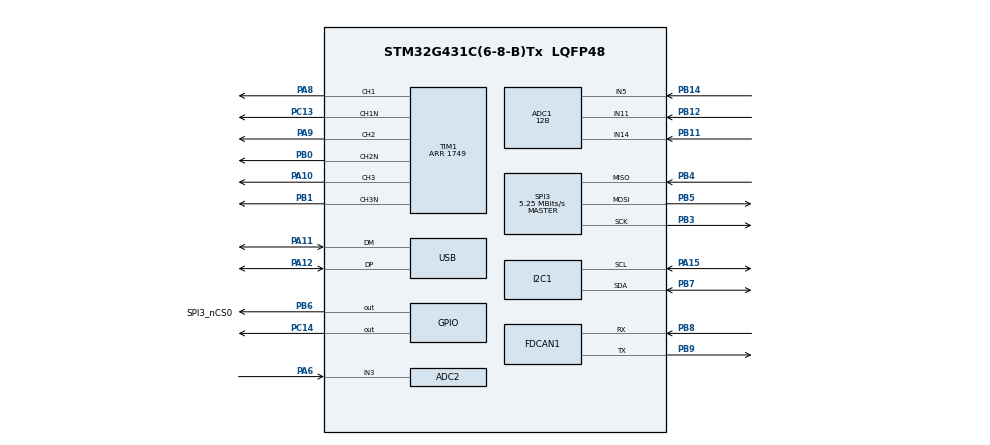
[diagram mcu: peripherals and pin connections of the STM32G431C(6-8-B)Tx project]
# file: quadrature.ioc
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ADC1.Channel-0\#ChannelRegularConversion=ADC_CHANNEL_5
ADC1.Channel-1\#ChannelRegularConversion=ADC_CHANNEL_11
ADC1.Channel-2\#ChannelRegularConversion=ADC_CHANNEL_14
ADC1.DMAContinuousRequests=ENABLE
ADC1.EOCSelection=ADC_EOC_SEQ_CONV
ADC1.ExternalTrigConv=ADC_EXTERNALTRIG_T1_TRGO
ADC1.Mode=ADC_MODE_INDEPENDENT
ADC1.NbrOfConversion=3
ADC1.NbrOfConversionFlag=1
ADC1.OffsetNumber-0\#ChannelRegularConversion=ADC_OFFSET_NONE
ADC1.OffsetNumber-1\#ChannelRegularConversion=ADC_OFFSET_NONE
ADC1.OffsetNumber-2\#ChannelRegularConversion=ADC_OFFSET_NONE
ADC1.OversamplingMode=DISABLE
ADC1.Rank-0\#ChannelRegularConversion=1
ADC1.Rank-1\#ChannelRegularConversion=2
ADC1.Rank-2\#ChannelRegularConversion=3
ADC1.Resolution=ADC_RESOLUTION_12B
ADC1.SamplingTime-0\#ChannelRegularConversion=ADC_SAMPLETIME_2CYCLES_5
ADC1.SamplingTime-1\#ChannelRegularConversion=ADC_SAMPLETIME_2CYCLES_5
ADC1.SamplingTime-2\#ChannelRegularConversion=ADC_SAMPLETIME_2CYCLES_5
ADC1.master=1
ADC2.Channel-1\#ChannelRegularConversion=ADC_CHANNEL_3
ADC2.ContinuousConvMode=ENABLE
ADC2.DMAContinuousRequests=ENABLE
ADC2.EOCSelection=ADC_EOC_SEQ_CONV
ADC2.NbrOfConversionFlag=1
ADC2.OffsetNumber-1\#ChannelRegularConversion=ADC_OFFSET_NONE
ADC2.Overrun=ADC_OVR_DATA_OVERWRITTEN
ADC2.Rank-1\#ChannelRegularConversion=1
ADC2.SamplingTime-1\#ChannelRegularConversion=ADC_SAMPLETIME_640CYCLES_5
Dma.ADC1.1.Direction=DMA_PERIPH_TO_MEMORY
Dma.ADC1.1.EventEnable=DISABLE
Dma.ADC1.1.Instance=DMA1_Channel2
Dma.ADC1.1.MemDataAlignment=DMA_MDATAALIGN_HALFWORD
Dma.ADC1.1.MemInc=DMA_MINC_ENABLE
Dma.ADC1.1.Mode=DMA_CIRCULAR
Dma.ADC1.1.PeriphDataAlignment=DMA_PDATAALIGN_HALFWORD
Dma.ADC1.1.PeriphInc=DMA_PINC_DISABLE
Dma.ADC1.1.Polarity=HAL_DMAMUX_REQ_GEN_RISING
Dma.ADC1.1.Priority=DMA_PRIORITY_VERY_HIGH
Dma.ADC1.1.RequestNumber=1
Dma.ADC1.1.SignalID=NONE
Dma.ADC1.1.SyncEnable=DISABLE
Dma.ADC1.1.SyncPolarity=HAL_DMAMUX_SYNC_NO_EVENT
Dma.ADC1.1.SyncRequestNumber=1
Dma.ADC1.1.SyncSignalID=NONE
Dma.ADC2.3.Direction=DMA_PERIPH_TO_MEMORY
Dma.ADC2.3.EventEnable=DISABLE
Dma.ADC2.3.Instance=DMA1_Channel4
Dma.ADC2.3.MemDataAlignment=DMA_MDATAALIGN_HALFWORD
Dma.ADC2.3.MemInc=DMA_MINC_ENABLE
Dma.ADC2.3.Mode=DMA_CIRCULAR
Dma.ADC2.3.PeriphDataAlignment=DMA_PDATAALIGN_HALFWORD
Dma.ADC2.3.PeriphInc=DMA_PINC_DISABLE
Dma.ADC2.3.Polarity=HAL_DMAMUX_REQ_GEN_RISING
Dma.ADC2.3.Priority=DMA_PRIORITY_MEDIUM
Dma.ADC2.3.RequestNumber=1
Dma.ADC2.3.SignalID=NONE
Dma.ADC2.3.SyncEnable=DISABLE
Dma.ADC2.3.SyncPolarity=HAL_DMAMUX_SYNC_NO_EVENT
Dma.ADC2.3.SyncRequestNumber=1
Dma.ADC2.3.SyncSignalID=NONE
Dma.Request0=SPI3_RX
Dma.Request1=ADC1
Dma.Request2=SPI3_TX
Dma.Request3=ADC2
Dma.SPI3_RX.0.Direction=DMA_PERIPH_TO_MEMORY
Dma.SPI3_RX.0.EventEnable=DISABLE
Dma.SPI3_RX.0.Instance=DMA1_Channel1
Dma.SPI3_RX.0.MemDataAlignment=DMA_MDATAALIGN_BYTE
Dma.SPI3_RX.0.MemInc=DMA_MINC_ENABLE
Dma.SPI3_RX.0.Mode=DMA_NORMAL
Dma.SPI3_RX.0.PeriphDataAlignment=DMA_PDATAALIGN_HALFWORD
Dma.SPI3_RX.0.PeriphInc=DMA_PINC_DISABLE
Dma.SPI3_RX.0.Polarity=HAL_DMAMUX_REQ_GEN_RISING
Dma.SPI3_RX.0.Priority=DMA_PRIORITY_HIGH
Dma.SPI3_RX.0.RequestNumber=1
Dma.SPI3_RX.0.SignalID=NONE
Dma.SPI3_RX.0.SyncEnable=DISABLE
Dma.SPI3_RX.0.SyncPolarity=HAL_DMAMUX_SYNC_NO_EVENT
Dma.SPI3_RX.0.SyncRequestNumber=1
Dma.SPI3_RX.0.SyncSignalID=NONE
Dma.SPI3_TX.2.Direction=DMA_MEMORY_TO_PERIPH
Dma.SPI3_TX.2.EventEnable=DISABLE
Dma.SPI3_TX.2.Instance=DMA1_Channel3
Dma.SPI3_TX.2.MemDataAlignment=DMA_MDATAALIGN_BYTE
Dma.SPI3_TX.2.MemInc=DMA_MINC_ENABLE
Dma.SPI3_TX.2.Mode=DMA_NORMAL
Dma.SPI3_TX.2.PeriphDataAlignment=DMA_PDATAALIGN_HALFWORD
Dma.SPI3_TX.2.PeriphInc=DMA_PINC_DISABLE
Dma.SPI3_TX.2.Polarity=HAL_DMAMUX_REQ_GEN_RISING
Dma.SPI3_TX.2.Priority=DMA_PRIORITY_LOW
Dma.SPI3_TX.2.RequestNumber=1
Dma.SPI3_TX.2.SignalID=NONE
Dma.SPI3_TX.2.SyncEnable=DISABLE
Dma.SPI3_TX.2.SyncPolarity=HAL_DMAMUX_SYNC_NO_EVENT
Dma.SPI3_TX.2.SyncRequestNumber=1
Dma.SPI3_TX.2.SyncSignalID=NONE
FDCAN1.CalculateBaudRateNominal=2100000
FDCAN1.CalculateTimeBitNominal=476
FDCAN1.CalculateTimeQuantumNominal=95.23809523809524
FREERTOS.Tasks01=defaultTask,24,128,StartDefaultTask,Default,NULL,Dynamic,NULL,NULL
I2C1.Timing=0x60505F8C
Mcu.Family=STM32G4
Mcu.Name=STM32G431C(6-8-B)Tx
Mcu.Package=LQFP48
NVIC.ADC1_2_IRQn=true\:5\:0\:false\:false\:true\:true\:true\:true\:true
NVIC.DMA1_Channel1_IRQn=true\:5\:0\:false\:false\:true\:true\:false\:true\:true
NVIC.DMA1_Channel2_IRQn=true\:5\:0\:false\:false\:true\:true\:false\:true\:true
NVIC.DMA1_Channel3_IRQn=true\:5\:0\:false\:false\:true\:true\:false\:true\:true
NVIC.DMA1_Channel4_IRQn=true\:5\:0\:false\:false\:true\:true\:false\:true\:true
NVIC.PriorityGroup=NVIC_PRIORITYGROUP_4
NVIC.TIM2_IRQn=true\:5\:0\:false\:false\:true\:true\:true\:true\:true
NVIC.TIM4_IRQn=true\:15\:0\:false\:false\:true\:false\:false\:true\:true
NVIC.TimeBase=TIM4_IRQn
NVIC.TimeBaseIP=TIM4
NVIC.USB_LP_IRQn=true\:5\:0\:false\:false\:true\:true\:false\:true\:true
PA10.Signal=S_TIM1_CH3
PA11.Mode=Device
PA11.Signal=USB_DM
PA12.Mode=Device
PA12.Signal=USB_DP
PA13.Mode=Serial_Wire
PA13.Signal=SYS_JTMS-SWDIO
PA14.Mode=Serial_Wire
PA14.Signal=SYS_JTCK-SWCLK
PA15.Mode=I2C
PA15.Signal=I2C1_SCL
PA6.Mode=IN3-Single-Ended
PA6.Signal=ADC2_IN3
PA8.Signal=S_TIM1_CH1
PA9.Signal=S_TIM1_CH2
PB0.Mode=PWM Generation2 CH2 CH2N
PB0.Signal=TIM1_CH2N
PB1.Mode=PWM Generation3 CH3 CH3N
PB1.Signal=TIM1_CH3N
PB11.Mode=IN14-Single-Ended
PB11.Signal=ADC1_IN14
PB12.Mode=IN11-Single-Ended
PB12.Signal=ADC1_IN11
PB14.Mode=IN5-Single-Ended
PB14.Signal=ADC1_IN5
PB3.Mode=Full_Duplex_Master
PB3.Signal=SPI3_SCK
PB4.Mode=Full_Duplex_Master
PB4.Signal=SPI3_MISO
PB5.Mode=Full_Duplex_Master
PB5.Signal=SPI3_MOSI
PB6.GPIO_Label=SPI3_nCS0
PB6.Signal=GPIO_Output
PB7.Mode=I2C
PB7.Signal=I2C1_SDA
PB8-BOOT0.Mode=FDCAN_Activate
PB8-BOOT0.Signal=FDCAN1_RX
PB9.Mode=FDCAN_Activate
PB9.Signal=FDCAN1_TX
PC13.Mode=PWM Generation1 CH1 CH1N
PC13.Signal=TIM1_CH1N
PC14-OSC32_IN.Signal=GPIO_Output
PF0-OSC_IN.Mode=HSE-External-Oscillator
PF0-OSC_IN.Signal=RCC_OSC_IN
PF1-OSC_OUT.Mode=HSE-External-Oscillator
PF1-OSC_OUT.Signal=RCC_OSC_OUT
ProjectManager.HeapSize=0x200
ProjectManager.StackSize=0x400
ProjectManager.TargetToolchain=Makefile
RCC.ADC12Freq_Value=168000000
RCC.AHBFreq_Value=168000000
RCC.APB1Freq_Value=168000000
RCC.APB1TimFreq_Value=168000000
RCC.APB2Freq_Value=168000000
RCC.APB2TimFreq_Value=168000000
RCC.CK48CLockSelection=RCC_USBCLKSOURCE_HSI48
RCC.CortexFreq_Value=168000000
RCC.EXTERNAL_CLOCK_VALUE=12288000
RCC.HCLKFreq_Value=168000000
RCC.HSE_VALUE=16000000
RCC.HSI48_VALUE=48000000
RCC.HSI_VALUE=16000000
RCC.LSE_VALUE=32768
RCC.PLLN=21
RCC.PLLSourceVirtual=RCC_PLLSOURCE_HSE
RCC.SYSCLKFreq_VALUE=168000000
RCC.SYSCLKSource=RCC_SYSCLKSOURCE_PLLCLK
RCC.USBFreq_Value=48000000
RCC.VCOOutputFreq_Value=336000000
SH.S_TIM1_CH1.0=TIM1_CH1,PWM Generation1 CH1 CH1N
SH.S_TIM1_CH2.0=TIM1_CH2,PWM Generation2 CH2 CH2N
SH.S_TIM1_CH3.0=TIM1_CH3,PWM Generation3 CH3 CH3N
SPI3.BaudRatePrescaler=SPI_BAUDRATEPRESCALER_32
SPI3.CLKPhase=SPI_PHASE_2EDGE
SPI3.CalculateBaudRate=5.25 MBits/s
SPI3.DataSize=SPI_DATASIZE_16BIT
SPI3.Direction=SPI_DIRECTION_2LINES
SPI3.Mode=SPI_MODE_MASTER
SPI3.VirtualType=VM_MASTER
TIM1.Channel-PWM\ Generation1\ CH1\ CH1N=TIM_CHANNEL_1
TIM1.Channel-PWM\ Generation2\ CH2\ CH2N=TIM_CHANNEL_2
TIM1.Channel-PWM\ Generation3\ CH3\ CH3N=TIM_CHANNEL_3
TIM1.CounterMode=TIM_COUNTERMODE_CENTERALIGNED3
TIM1.PeriodNoDither=1749
TIM1.RepetitionCounter=1
TIM1.TIM_MasterOutputTrigger=TIM_TRGO_UPDATE
USB_DEVICE.CLASS_NAME_FS=CDC
USB_DEVICE.VirtualMode=Cdc
USB_DEVICE.VirtualModeFS=Cdc_FS
VP_ADC1_Vref_Input.Mode=IN-Vrefint
VP_CORDIC_VS_CORDIC.Mode=CORDIC_Activate
VP_FREERTOS_VS_CMSIS_V2.Mode=CMSIS_V2
VP_SYS_VS_DBSignals.Mode=DisableDeadBatterySignals
VP_SYS_VS_tim4.Mode=TIM4
VP_TIM1_VS_ClockSourceINT.Mode=Internal
VP_TIM2_VS_ClockSourceINT.Mode=Internal
VP_USB_DEVICE_VS_USB_DEVICE_CDC_FS.Mode=CDC_FS
board=custom

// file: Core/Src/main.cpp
#include "main.h"
#include "cmsis_os.h"
#include "adc.h"
#include "cordic.h"
#include "dma.h"
#include "fdcan.h"
#include "i2c.h"
#include "spi.h"
#include "tim.h"
#include "usb_device.h"
#include "gpio.h"

#include "arm_math.h"
#include "quadrature/communication/simulink_reporter.hpp"
#include "quadrature/components.hpp"
#include "quadrature/CalibrateCurrentSense.hpp"
#include "quadrature/CalibrateAxis.hpp"
#include "quadrature/communication/SimulinkPIDAdjust.hpp"

extern "C" void SystemClock_Config(void);

extern "C" {

#include "FreeRTOS.h"
#include "task.h"
#include "main.h"
#include "cmsis_os.h"

}

osThreadId_t defaultTaskHandle;
const osThreadAttr_t defaultTask_attributes = {
  .name = "defaultTask",
  .stack_size = 128 * 4,
  .priority = (osPriority_t) osPriorityNormal
};

void StartDefaultTask(void *argument)
{
  /* USER CODE BEGIN StartDefaultTask */
    osDelay(100);

    CalibrateCurrentSense phaseACalibrator(axis_1_ch_A, 100);
    CalibrateCurrentSense phaseBCalibrator(axis_1_ch_B, 100);
    CalibrateCurrentSense phaseCCalibrator(axis_1_ch_C, 100);

    CalibrateAxis axis_calibrator(axis_1);

    while (!phaseACalibrator.isProcessEnded()){
      axis_1_ch_A->updateCurrent();
      phaseACalibrator.step();
      osDelay(1);
    }

    while (!phaseBCalibrator.isProcessEnded()){
      axis_1_ch_B->updateCurrent();
      phaseBCalibrator.step();
      osDelay(1);
    }

    while (!phaseCCalibrator.isProcessEnded()){
      axis_1_ch_C->updateCurrent();
      phaseCCalibrator.step();
      osDelay(1);
    }

    axis_1_modulator->hardwareEnable();

    while (!axis_calibrator.isProcessEnded()){
      axis_calibrator.step();
      osDelay(1);
    }

    axis_1->requestArm();

  /* Infinite loop */
  for(;;)
  {
    osDelay(1);
  }
  /* USER CODE END StartDefaultTask */
}

osThreadId_t telemetryTaskHandle;
const osThreadAttr_t telemetryTask_attributes = {
  .name = "telemetryTask",
  .stack_size = 128 * 4,
  .priority = (osPriority_t) osPriorityNormal
};

struct TelemetryPacket{
  float32_t Id_unfiltered;        // unfiltered D axis current
  float32_t Iq_unfiltered;        // unfiltered Q axis current
  float32_t Id;                   // filtered D axis current
  float32_t Iq;                   // filtered Q axis current
  float32_t Id_Target;            // D axis current target
  float32_t Iq_Target;            // Q axis current target
  float32_t Vd;                   // D axis output Voltage
  float32_t Vq;                   // Q axis output Voltage
  float32_t electrical_angle;     // current electrical angle
  float32_t velocity;             // current mechanical velocity
};

SimulinkReport<TelemetryPacket,100> reporter;
TelemetryPacket packet;

void TelemetryTask(void* argument){
  while (true){
    reporter.checkTransmit();
    parseSimulinkCommand();
    osDelay(1);
  }
}

int main(void)
{

  /* MCU Configuration--------------------------------------------------------*/

  /* Reset of all peripherals, Initializes the Flash interface and the Systick. */
  HAL_Init();

  /* Configure the system clock */
  SystemClock_Config();

  /* Initialize all configured peripherals */
  MX_GPIO_Init();
  MX_DMA_Init();
  MX_ADC1_Init();
  MX_FDCAN1_Init();
  MX_I2C1_Init();
  MX_TIM1_Init();
  MX_ADC2_Init();
  MX_CORDIC_Init();
  MX_SPI3_Init();
  MX_USB_Device_Init();
  MX_TIM2_Init();
  /* USER CODE BEGIN 2 */

  componentInit();

  osKernelInitialize();  /* Call init function for freertos objects (in freertos.c) */

  // initialize freeRTOS threads
  defaultTaskHandle = osThreadNew(StartDefaultTask, NULL, &defaultTask_attributes);
  telemetryTaskHandle = osThreadNew(TelemetryTask, NULL, &telemetryTask_attributes);

  osKernelStart();
  /* USER CODE END 2 */

  /* We should never reach here */
  while (1) {
  }
}
uint32_t idx = 0;
// implements callback function after DMA transfer
void HAL_ADC_ConvCpltCallback(ADC_HandleTypeDef *hadc){
  axis_1_ch_A->updateCurrent();
  axis_1_ch_B->updateCurrent();
  axis_1_ch_C->updateCurrent();

  axis_1_control_logic.sensedCurrentUpdate();
}

extern "C" void HAL_SPI_RxCpltCallback(SPI_HandleTypeDef *hspi){
  HAL_SPI_TxRxCpltCallback(hspi);
}

extern "C" void HAL_SPI_TxRxCpltCallback(SPI_HandleTypeDef *hspi){
  if (hspi == &hspi3){
    // encoder read completed
    axis_1_encoder->encoderReadCompleteCallback();
    //reporter.record(packet);
    axis_1_control_logic.sensedEncoderUpdate();

    // packet.mech_angle = axis_1_control_logic.state_estimator.getAngle();
    // packet.elec_angle = axis_1_control_logic.state_estimator.getElectricalAngle();
    // packet.velocity = axis_1_control_logic.state_estimator.getVelocity();
  }
}

extern "C" void EncoderTimer(){
  axis_1_encoder->requestRead();

  axis_1_control_logic.state_estimator.getDQCurrent(&packet.Id, &packet.Iq);
  axis_1_control_logic.state_estimator.getUnFilteredDQCurrent(&packet.Id_unfiltered, &packet.Iq_unfiltered);

  packet.Id_Target = axis_1_control_logic.Id_target;
  packet.Iq_Target = axis_1_control_logic.Iq_target;

  packet.Vd = axis_1_control_logic.Vd_output;
  packet.Vq = axis_1_control_logic.Vq_output;

  packet.electrical_angle = axis_1_control_logic.state_estimator.getElectricalAngle();
  packet.velocity = axis_1_control_logic.state_estimator.getVelocity();

  reporter.record(packet);
}
